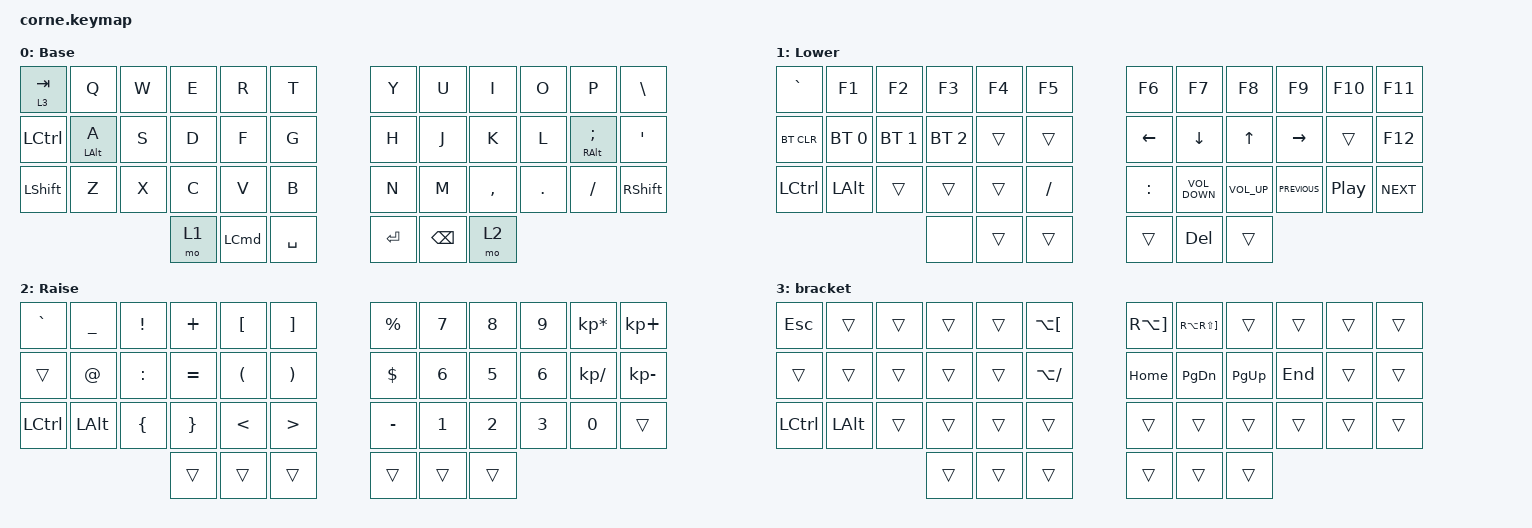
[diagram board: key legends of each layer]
/*
 * Copyright (c) 2020 The ZMK Contributors
 *
 * SPDX-License-Identifier: MIT
 */

#include <behaviors.dtsi>
#include <dt-bindings/zmk/bt.h>
#include <dt-bindings/zmk/keys.h>

/ {
    combos {
        compatible = "zmk,combos";

        new_combo {
            bindings = <&kp ESCAPE>;
            key-positions = <20 19>;
        };
    };

    keymap {
        compatible = "zmk,keymap";

        default_layer {
            // -----------------------------------------------------------------------------------------
            // |  TAB |  Q  |  W  |  E  |  R  |  T  |   |  Y  |  U   |  I  |  O  |  P  | BKSP |
            // | CTRL |  A  |  S  |  D  |  F  |  G  |   |  H  |  J   |  K  |  L  |  ;  |  '   |
            // | SHFT |  Z  |  X  |  C  |  V  |  B  |   |  N  |  M   |  ,  |  .  |  /  | ESC  |
            //                    | GUI | LWR | SPC |   | ENT | RSE  | ALT |

            label = "Base";
            bindings = <
       &lt 3 TAB           &kp Q  &kp W  &kp E     &kp R      &kp T      &kp Y          &kp U      &kp I    &kp O                    &kp P    &kp BACKSLASH
&kp LEFT_CONTROL  &mt LEFT_ALT A  &kp S  &kp D     &kp F      &kp G      &kp H          &kp J      &kp K    &kp L  &mt RIGHT_ALT SEMICOLON          &kp SQT
  &kp LEFT_SHIFT           &kp Z  &kp X  &kp C     &kp V      &kp B      &kp N          &kp M  &kp COMMA  &kp DOT                 &kp FSLH  &kp RIGHT_SHIFT
                                         &mo 1  &kp LCMD  &kp SPACE    &kp RET  &kp BACKSPACE      &mo 2
            >;
        };

        lower_layer {
            // -----------------------------------------------------------------------------------------
            // |  TAB |  1  |  2  |  3  |  4  |  5  |   |  6  |  7  |  8  |  9  |  0  | BKSP |
            // | BTCLR| BT1 | BT2 | BT3 | BT4 | BT5 |   | LFT | DWN |  UP | RGT |     |      |
            // | SHFT |     |     |     |     |     |   |     |     |     |     |     |      |
            //                    | GUI |     | SPC |   | ENT |     | ALT |

            label = "Lower";
            bindings = <
       &kp GRAVE        &kp F1        &kp F2        &kp F3  &kp F4     &kp F5            &kp F6             &kp F7           &kp F8          &kp F9           &kp F10     &kp F11
      &bt BT_CLR  &bt BT_SEL 0  &bt BT_SEL 1  &bt BT_SEL 2  &trans     &trans    &kp LEFT_ARROW     &kp DOWN_ARROW     &kp UP_ARROW       &kp RIGHT            &trans     &kp F12
&kp LEFT_CONTROL  &kp LEFT_ALT        &trans        &trans  &trans  &kp SLASH         &kp COLON  &kp C_VOLUME_DOWN  &kp C_VOLUME_UP  &kp C_PREVIOUS  &kp C_PLAY_PAUSE  &kp C_NEXT
                                                     &none  &trans     &trans            &trans         &kp DELETE           &trans
            >;
        };

        raise_layer {
            // -----------------------------------------------------------------------------------------
            // |  TAB |  !  |  @  |  #  |  $  |  %  |   |  ^  |  &  |  *  |  (  |  )  | BKSP |
            // | CTRL |     |     |     |     |     |   |  -  |  =  |  [  |  ]  |  \  |  `   |
            // | SHFT |     |     |     |     |     |   |  _  |  +  |  {  |  }  | "|" |  ~   |
            //                    | GUI |     | SPC |   | ENT |     | ALT |

            label = "Raise";
            bindings = <
       &kp GRAVE  &kp UNDERSCORE        &kp EXCL         &kp PLUS      &kp LEFT_BRACKET      &kp RIGHT_BRACKET    &kp PERCENT  &kp NUMBER_7  &kp NUMBER_8  &kp NUMBER_9  &kp KP_MULTIPLY   &kp KP_PLUS
          &trans     &kp AT_SIGN       &kp COLON        &kp EQUAL  &kp LEFT_PARENTHESIS  &kp RIGHT_PARENTHESIS     &kp DOLLAR  &kp NUMBER_6  &kp NUMBER_5  &kp NUMBER_6    &kp KP_DIVIDE  &kp KP_MINUS
&kp LEFT_CONTROL    &kp LEFT_ALT  &kp LEFT_BRACE  &kp RIGHT_BRACE         &kp LESS_THAN       &kp GREATER_THAN      &kp MINUS  &kp NUMBER_1  &kp NUMBER_2  &kp NUMBER_3     &kp NUMBER_0        &trans
                                                           &trans                &trans                 &trans         &trans        &trans        &trans
            >;
        };

        bracket {
            bindings = <
         &kp ESC        &trans  &trans  &trans  &trans  &kp LA(LEFT_BRACKET)    &kp RA(RIGHT_BRACKET)  &kp RA(RS(RIGHT_BRACKET))       &trans   &trans  &trans  &trans
          &trans        &trans  &trans  &trans  &trans         &kp LA(SLASH)                 &kp HOME              &kp PAGE_DOWN  &kp PAGE_UP  &kp END  &trans  &trans
&kp LEFT_CONTROL  &kp LEFT_ALT  &trans  &trans  &trans                &trans                   &trans                     &trans       &trans   &trans  &trans  &trans
                                        &trans  &trans                &trans                   &trans                     &trans       &trans
            >;
        };
    };
};
